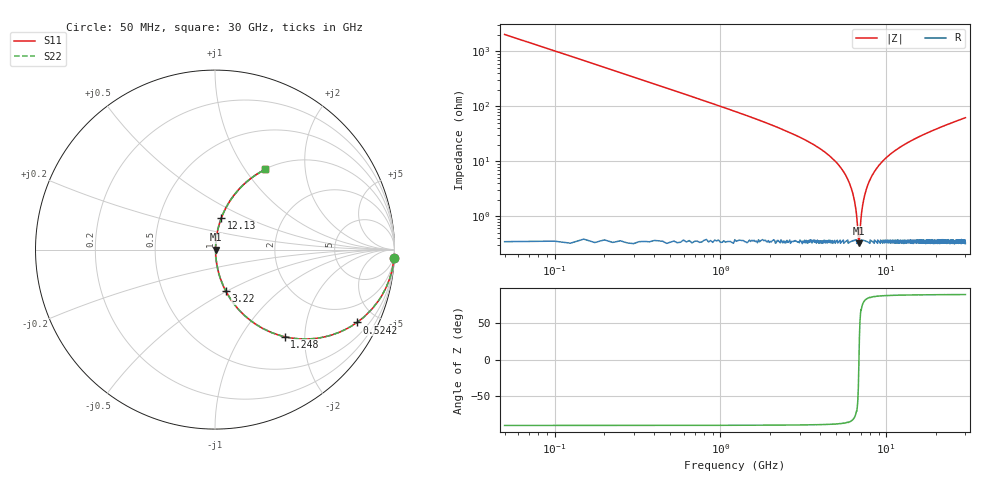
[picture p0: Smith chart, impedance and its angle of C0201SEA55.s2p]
# MHZ S MA R 50
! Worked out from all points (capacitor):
!   1201 points, 50 MHz to 30 GHz, reference 50 ohm
!   read as one part in series: C = 1.55 pF near 199.8 MHz
!   lowest |Z| = 325 mohm at 6.839 GHz (marker M1)
!   series resonance near 6.845 GHz, so ESL is about 350 pH
!   S11 on the Smith chart (normalised r, x): 50 MHz: 1, -41; 524.2 MHz: 1.01, -3.89; 1.248 GHz: 1.01, -1.59; 3.22 GHz: 1.01, -0.50; 12.13 GHz: 1.01, +0.36; 30 GHz: 1.01, +1.25
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50  0.999 -2.8  0.049 87.2  0.049 87.2  0.999 -2.8
274.625  0.966 -15.0  0.259 75.0  0.259 75.0  0.966 -15.0
524.208  0.889 -27.2  0.456 62.7  0.456 62.7  0.889 -27.2
1248  0.621 -51.3  0.781 38.4  0.781 38.4  0.621 -51.3
2046.667  0.414 -65.1  0.907 24.5  0.907 24.5  0.414 -65.1
3219.708  0.24 -75.3  0.967 13.9  0.967 13.9  0.24 -75.3
5041.667  0.093 -82.6  0.992 5.3  0.992 5.3  0.093 -82.6
5690.583  0.056 -83.3  0.995 3.2  0.995 3.2  0.056 -83.3
6164.792  0.032 -81.9  0.996 1.8  0.996 1.8  0.032 -81.9
6464.292  0.017 -77.6  0.996 1.0  0.996 1.0  0.017 -77.6
6738.833  0.005813 -53.2  0.997 0.3  0.997 0.3  0.005813 -53.2
6838.667  0.003469 -4.5  0.997 0.0  0.997 0.0  0.003469 -4.5
6938.5  0.005331 49.3  0.997 -0.2  0.997 -0.2  0.005331 49.3
7287.917  0.019 78.5  0.996 -1.1  0.996 -1.1  0.019 78.5
7787.083  0.039 82.7  0.996 -2.2  0.996 -2.2  0.039 82.7
8760.458  0.074 83.1  0.994 -4.3  0.994 -4.3  0.074 83.1
10058.29  0.117 81.6  0.99 -6.7  0.99 -6.7  0.117 81.6
12129.83  0.178 78.7  0.981 -10.2  0.981 -10.2  0.178 78.7
15025  0.252 74.7  0.964 -14.6  0.964 -14.6  0.252 74.7
20016.67  0.36 68.4  0.93 -21.1  0.93 -21.1  0.36 68.4
25033.29  0.451 62.8  0.889 -26.8  0.889 -26.8  0.451 62.8
30000  0.528 57.8  0.847 -31.8  0.847 -31.8  0.528 57.8
